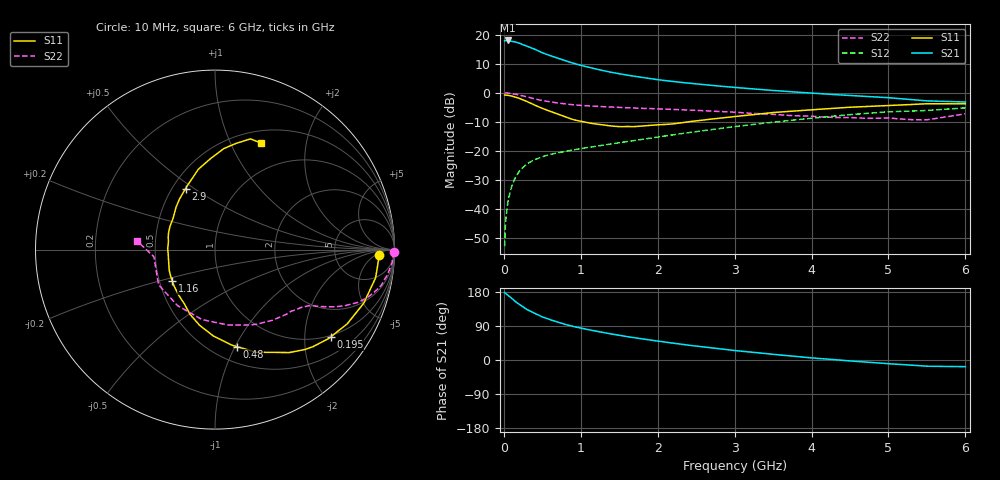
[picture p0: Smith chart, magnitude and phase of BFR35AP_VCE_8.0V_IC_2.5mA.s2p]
! Infineon Technologies  Discrete & RF Semiconductors
! BFR35AP
! VCE =  8.0 V,  IC =  2.5 mA
! Common Emitter S-Parameters:  Nov 2015
# GHz  S  MA  R  50
!  f  S11  S21  S12  S22
! GHz  MAG  ANG  MAG  ANG  MAG  ANG  MAG  ANG
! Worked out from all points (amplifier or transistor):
!   210 points, 10 MHz to 6 GHz, reference 50 ohm
!   highest |S21| = 18.0 dB at 50 MHz (marker M1)
!   |S21| within 3 dB of that: start of sweep to 401 MHz
!   unconditionally stable (mu >= 1): 1.132 GHz to 3.271 GHz
!   at 185 MHz: K = 0.25, MSG = 22.4 dB, |S12| = -27.6 dB
!   at 1.52 GHz: K = 1.11, MAG = 9.8 dB, |S12| = -17.1 dB
!   at 6 GHz: K = 0.93, MSG = 1.0 dB, |S12| = -5.2 dB
!   S11 on the Smith chart (normalised r, x): 10 MHz: 20, -8; 195 MHz: 0.96, -2.68; 480 MHz: 0.65, -1.02; 1.16 GHz: 0.58, -0.22; 2.9 GHz: 0.58, +0.46; 6 GHz: 0.64, +1.31
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0.01  0.9151 -2.0  7.838 178.3  0.0023 91.4  0.9965 -0.8
0.025  0.9111 -5.1  7.909 175.4  0.0062 85.4  0.9921 -2.1
0.05  0.9084 -10.0  7.952 171.3  0.0124 84.1  0.9894 -4.3
0.095  0.8825 -18.8  7.696 164.0  0.0227 80.1  0.9731 -7.8
0.15  0.845 -29.3  7.501 154.0  0.0348 73.2  0.9477 -12.1
0.195  0.8074 -37.1  7.181 147.6  0.0434 69.5  0.9188 -15.0
0.3  0.7073 -54.2  6.36 133.3  0.0598 62.2  0.8501 -20.2
0.4  0.6158 -68.2  5.638 123.0  0.0708 57.1  0.7865 -23.5
0.48  0.554 -77.3  5.027 115.8  0.0776 54.5  0.7452 -25.2
0.5  0.541 -79.9  4.889 113.7  0.0793 53.9  0.735 -25.7
0.6  0.4819 -91.0  4.365 106.4  0.0871 51.9  0.6995 -27.1
0.7  0.4299 -101.6  3.942 99.7  0.0927 50.6  0.6683 -28.3
0.8  0.3861 -111.2  3.554 93.8  0.0986 49.9  0.6429 -29.3
1.02  0.3195 -130.7  2.925 83.3  0.1105 50.4  0.6046 -31.2
1.16  0.2952 -143.9  2.639 77.6  0.1182 50.7  0.5896 -32.7
1.6  0.2634 178.9  2.015 61.6  0.1449 52.3  0.5541 -37.7
2.02  0.2823 152.7  1.67 49.4  0.1752 53.0  0.5292 -44.0
2.9  0.377 115.8  1.271 27.4  0.2521 50.5  0.4708 -62.4
3.1  0.4026 110.3  1.209 23.1  0.2718 49.0  0.4539 -67.8
4.1  0.5204 90.8  0.969 4.0  0.3759 39.4  0.3874 -104.8
5.1  0.6125 77.2  0.804 -11.0  0.476 25.1  0.3596 -152.8
6  0.6469 66.5  0.694 -17.6  0.5503 13.6  0.4344 173.9
